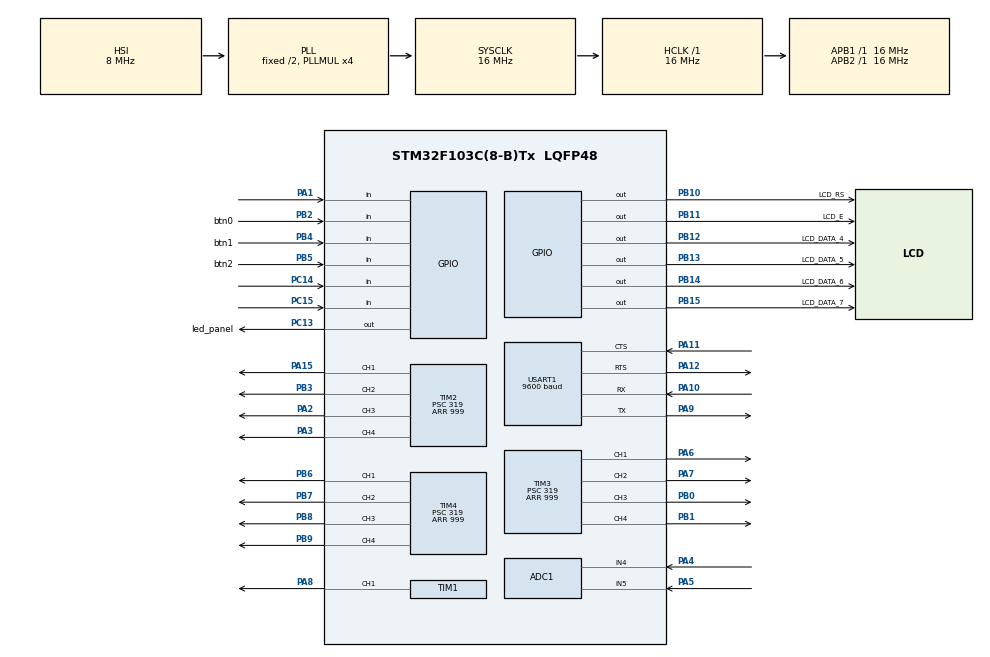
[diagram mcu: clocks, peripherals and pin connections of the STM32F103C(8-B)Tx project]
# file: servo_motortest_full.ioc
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ADC1.Channel-0\#ChannelRegularConversion=ADC_CHANNEL_4
ADC1.Channel-1\#ChannelRegularConversion=ADC_CHANNEL_5
ADC1.Channel-2\#ChannelRegularConversion=ADC_CHANNEL_TEMPSENSOR
ADC1.ContinuousConvMode=ENABLE
ADC1.NbrOfConversion=3
ADC1.NbrOfConversionFlag=1
ADC1.Rank-0\#ChannelRegularConversion=1
ADC1.Rank-1\#ChannelRegularConversion=2
ADC1.Rank-2\#ChannelRegularConversion=3
ADC1.SamplingTime-0\#ChannelRegularConversion=ADC_SAMPLETIME_239CYCLES_5
ADC1.SamplingTime-1\#ChannelRegularConversion=ADC_SAMPLETIME_239CYCLES_5
ADC1.SamplingTime-2\#ChannelRegularConversion=ADC_SAMPLETIME_239CYCLES_5
ADC1.master=1
Dma.ADC1.0.Direction=DMA_PERIPH_TO_MEMORY
Dma.ADC1.0.Instance=DMA1_Channel1
Dma.ADC1.0.MemDataAlignment=DMA_MDATAALIGN_WORD
Dma.ADC1.0.MemInc=DMA_MINC_ENABLE
Dma.ADC1.0.Mode=DMA_CIRCULAR
Dma.ADC1.0.PeriphDataAlignment=DMA_PDATAALIGN_WORD
Dma.ADC1.0.PeriphInc=DMA_PINC_DISABLE
Dma.ADC1.0.Priority=DMA_PRIORITY_LOW
Dma.Request0=ADC1
Mcu.Family=STM32F1
Mcu.Name=STM32F103C(8-B)Tx
Mcu.Package=LQFP48
NVIC.DMA1_Channel1_IRQn=true\:0\:0\:false\:false\:true\:false\:true
NVIC.PriorityGroup=NVIC_PRIORITYGROUP_4
NVIC.TIM2_IRQn=true\:0\:0\:false\:false\:true\:true\:true
NVIC.TIM3_IRQn=true\:0\:0\:false\:false\:true\:true\:true
NVIC.TIM4_IRQn=true\:0\:0\:false\:false\:true\:true\:true
PA1.Signal=GPIO_Input
PA10.Mode=Asynchronous
PA10.Signal=USART1_RX
PA11.Mode=CTS_RTS
PA11.Signal=USART1_CTS
PA12.Mode=CTS_RTS
PA12.Signal=USART1_RTS
PA13.Mode=Serial_Wire
PA13.Signal=SYS_JTMS-SWDIO
PA14.Mode=Serial_Wire
PA14.Signal=SYS_JTCK-SWCLK
PA15.Signal=S_TIM2_CH1_ETR
PA2.Signal=S_TIM2_CH3
PA3.Signal=S_TIM2_CH4
PA4.Signal=ADCx_IN4
PA5.Signal=ADCx_IN5
PA6.Signal=S_TIM3_CH1
PA7.Signal=S_TIM3_CH2
PA8.Signal=S_TIM1_CH1
PA9.Mode=Asynchronous
PA9.Signal=USART1_TX
PB0.Signal=S_TIM3_CH3
PB1.Signal=S_TIM3_CH4
PB10.GPIO_Label=LCD_RS
PB10.Signal=GPIO_Output
PB11.GPIO_Label=LCD_E
PB11.Signal=GPIO_Output
PB12.GPIO_Label=LCD_DATA_4
PB12.Signal=GPIO_Output
PB13.GPIO_Label=LCD_DATA_5
PB13.Signal=GPIO_Output
PB14.GPIO_Label=LCD_DATA_6
PB14.Signal=GPIO_Output
PB15.GPIO_Label=LCD_DATA_7
PB15.Signal=GPIO_Output
PB2.GPIO_Label=btn0
PB2.Signal=GPIO_Input
PB3.Signal=S_TIM2_CH2
PB4.GPIO_Label=btn1
PB4.Signal=GPIO_Input
PB5.GPIO_Label=btn2
PB5.Signal=GPIO_Input
PB6.Signal=S_TIM4_CH1
PB7.Signal=S_TIM4_CH2
PB8.Signal=S_TIM4_CH3
PB9.Signal=S_TIM4_CH4
PC13-TAMPER-RTC.GPIO_Label=led_panel
PC13-TAMPER-RTC.Signal=GPIO_Output
PC14-OSC32_IN.Signal=GPIO_Input
PC15-OSC32_OUT.Signal=GPIO_Input
PD0-OSC_IN.Mode=HSE-External-Oscillator
PD0-OSC_IN.Signal=RCC_OSC_IN
PD1-OSC_OUT.Mode=HSE-External-Oscillator
PD1-OSC_OUT.Signal=RCC_OSC_OUT
ProjectManager.HeapSize=0x200
ProjectManager.StackSize=0x400
ProjectManager.TargetToolchain=STM32CubeIDE
RCC.AHBFreq_Value=16000000
RCC.APB1Freq_Value=16000000
RCC.APB1TimFreq_Value=16000000
RCC.APB2Freq_Value=16000000
RCC.APB2TimFreq_Value=16000000
RCC.HCLKFreq_Value=16000000
RCC.PLLMUL=RCC_PLL_MUL4
RCC.SYSCLKFreq_VALUE=16000000
RCC.SYSCLKSource=RCC_SYSCLKSOURCE_PLLCLK
RCC.USBFreq_Value=16000000
SH.ADCx_IN4.0=ADC1_IN4,IN4
SH.ADCx_IN5.0=ADC1_IN5,IN5
SH.S_TIM1_CH1.0=TIM1_CH1,PWM Generation1 CH1
SH.S_TIM2_CH1_ETR.0=TIM2_CH1,PWM Generation1 CH1
SH.S_TIM2_CH2.0=TIM2_CH2,PWM Generation2 CH2
SH.S_TIM2_CH3.0=TIM2_CH3,PWM Generation3 CH3
SH.S_TIM2_CH4.0=TIM2_CH4,PWM Generation4 CH4
SH.S_TIM3_CH1.0=TIM3_CH1,PWM Generation1 CH1
SH.S_TIM3_CH2.0=TIM3_CH2,PWM Generation2 CH2
SH.S_TIM3_CH3.0=TIM3_CH3,PWM Generation3 CH3
SH.S_TIM3_CH4.0=TIM3_CH4,PWM Generation4 CH4
SH.S_TIM4_CH1.0=TIM4_CH1,PWM Generation1 CH1
SH.S_TIM4_CH2.0=TIM4_CH2,PWM Generation2 CH2
SH.S_TIM4_CH3.0=TIM4_CH3,PWM Generation3 CH3
SH.S_TIM4_CH4.0=TIM4_CH4,PWM Generation4 CH4
TIM1.Channel-PWM\ Generation1\ CH1=TIM_CHANNEL_1
TIM1.Period=999
TIM1.Prescaler=319
TIM2.AutoReloadPreload=TIM_AUTORELOAD_PRELOAD_ENABLE
TIM2.Channel-PWM\ Generation1\ CH1=TIM_CHANNEL_1
TIM2.Channel-PWM\ Generation2\ CH2=TIM_CHANNEL_2
TIM2.Channel-PWM\ Generation3\ CH3=TIM_CHANNEL_3
TIM2.Channel-PWM\ Generation4\ CH4=TIM_CHANNEL_4
TIM2.Period=999
TIM2.Prescaler=319
TIM3.AutoReloadPreload=TIM_AUTORELOAD_PRELOAD_ENABLE
TIM3.Channel-PWM\ Generation1\ CH1=TIM_CHANNEL_1
TIM3.Channel-PWM\ Generation2\ CH2=TIM_CHANNEL_2
TIM3.Channel-PWM\ Generation3\ CH3=TIM_CHANNEL_3
TIM3.Channel-PWM\ Generation4\ CH4=TIM_CHANNEL_4
TIM3.Period=999
TIM3.Prescaler=319
TIM4.AutoReloadPreload=TIM_AUTORELOAD_PRELOAD_ENABLE
TIM4.Channel-PWM\ Generation1\ CH1=TIM_CHANNEL_1
TIM4.Channel-PWM\ Generation2\ CH2=TIM_CHANNEL_2
TIM4.Channel-PWM\ Generation3\ CH3=TIM_CHANNEL_3
TIM4.Channel-PWM\ Generation4\ CH4=TIM_CHANNEL_4
TIM4.Period=999
TIM4.Prescaler=319
USART1.BaudRate=9600
USART1.VirtualMode=VM_ASYNC
VP_ADC1_TempSens_Input.Mode=IN-TempSens
VP_TIM1_VS_ClockSourceINT.Mode=Internal
VP_TIM2_VS_ClockSourceINT.Mode=Internal
VP_TIM3_VS_ClockSourceINT.Mode=Internal
VP_TIM4_VS_ClockSourceINT.Mode=Internal
board=custom

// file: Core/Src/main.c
/* USER CODE BEGIN Header */
/**
  ******************************************************************************
  * @file           : main.c
  * @brief          : Main program body
  ******************************************************************************
  * @attention
  *
  * <h2><center>&copy; Copyright (c) 2021 STMicroelectronics.
  * All rights reserved.</center></h2>
  *
  * This software component is licensed by ST under BSD 3-Clause license,
  * the "License"; You may not use this file except in compliance with the
  * License. You may obtain a copy of the License at:
  *                        opensource.org/licenses/BSD-3-Clause
  *
  ******************************************************************************
  */
/* USER CODE END Header */
#include "main.h"
#include "adc.h"
#include "dma.h"
#include "tim.h"
#include "usart.h"
#include "gpio.h"

/* USER CODE BEGIN Includes */
#include "lcd.h"
#include "functions.h"
/* USER CODE END Includes */

/* USER CODE BEGIN PV */
v8 i = 50;
v8 k = 100;
u32 DATA_dmaadc[3] = {0.0, 0.0, 0.0};
/* USER CODE END PV */

void SystemClock_Config(void);

int main(void)
{

  /* MCU Configuration--------------------------------------------------------*/

  /* Reset of all peripherals, Initializes the Flash interface and the Systick. */
  HAL_Init();

  /* Configure the system clock */
  SystemClock_Config();

  /* Initialize all configured peripherals */
  MX_GPIO_Init();
  MX_DMA_Init();
  MX_TIM1_Init();
  MX_TIM2_Init();
  MX_TIM3_Init();
  MX_TIM4_Init();
  MX_ADC1_Init();
  MX_USART1_UART_Init();
  /* USER CODE BEGIN 2 */
  HAL_TIM_PWM_Start(&htim1, TIM_CHANNEL_1);
 /* HAL_TIM_PWM_Start(&htim1, TIM_CHANNEL_2);
  HAL_TIM_PWM_Start(&htim1, TIM_CHANNEL_3);
  HAL_TIM_PWM_Start(&htim1, TIM_CHANNEL_4);
*/
  HAL_TIM_PWM_Start(&htim2, TIM_CHANNEL_1);
  HAL_TIM_PWM_Start(&htim2, TIM_CHANNEL_2);
  HAL_TIM_PWM_Start(&htim2, TIM_CHANNEL_3);
  HAL_TIM_PWM_Start(&htim2, TIM_CHANNEL_4);
  HAL_TIM_Base_Start_IT(&htim2);

  HAL_TIM_PWM_Start(&htim3, TIM_CHANNEL_1);
  HAL_TIM_PWM_Start(&htim3, TIM_CHANNEL_2);
  HAL_TIM_PWM_Start(&htim3, TIM_CHANNEL_3);
  HAL_TIM_PWM_Start(&htim3, TIM_CHANNEL_4);
  HAL_TIM_Base_Start_IT(&htim3);

  HAL_TIM_PWM_Start(&htim4, TIM_CHANNEL_1);
  HAL_TIM_PWM_Start(&htim4, TIM_CHANNEL_2);
  HAL_TIM_PWM_Start(&htim4, TIM_CHANNEL_3);
  HAL_TIM_PWM_Start(&htim4, TIM_CHANNEL_4);
  HAL_TIM_Base_Start_IT(&htim4);

  HAL_ADC_Start_DMA(&hadc1, DATA_dmaadc, 3);

  /* USER CODE END 2 */

  /* Infinite loop */
  while (1)
  {

    /* USER CODE BEGIN 3 */
	  for(u8 i = 25; i <= 125; i += 25){
		  htim1.Instance -> CCR1 = i;
		  HAL_Delay(500);
		  htim1.Instance -> CCR2 = i;
		  HAL_Delay(500);
		  htim1.Instance -> CCR3 = i;
		  HAL_Delay(500);
		  htim1.Instance -> CCR4 = i;
		  HAL_Delay(500);
		  htim2.Instance -> CCR1 = i;
		  HAL_Delay(500);
		  htim2.Instance -> CCR2 = i;
		  HAL_Delay(500);
		  htim2.Instance -> CCR3 = i;
		  HAL_Delay(500);
		  htim2.Instance -> CCR4 = i;
		  HAL_Delay(500);
		  htim3.Instance -> CCR1 = i;
		  HAL_Delay(500);
		  htim3.Instance -> CCR2 = i;
		  HAL_Delay(500);
		  htim3.Instance -> CCR3 = i;
		  HAL_Delay(500);
		  htim3.Instance -> CCR4 = i;
		  HAL_Delay(500);
		  htim4.Instance -> CCR1 = i;
		  HAL_Delay(500);
		  htim4.Instance -> CCR2 = i;
		  HAL_Delay(500);
	  }

	  HAL_GPIO_TogglePin(led_panel_GPIO_Port, led_panel_Pin);
	  HAL_Delay(200);
  }
  /* USER CODE END 3 */
}

void SystemClock_Config(void)
{
  RCC_OscInitTypeDef RCC_OscInitStruct = {0};
  RCC_ClkInitTypeDef RCC_ClkInitStruct = {0};
  RCC_PeriphCLKInitTypeDef PeriphClkInit = {0};

  /** Initializes the RCC Oscillators according to the specified parameters
  * in the RCC_OscInitTypeDef structure.
  */
  RCC_OscInitStruct.OscillatorType = RCC_OSCILLATORTYPE_HSI;
  RCC_OscInitStruct.HSIState = RCC_HSI_ON;
  RCC_OscInitStruct.HSICalibrationValue = RCC_HSICALIBRATION_DEFAULT;
  RCC_OscInitStruct.PLL.PLLState = RCC_PLL_ON;
  RCC_OscInitStruct.PLL.PLLSource = RCC_PLLSOURCE_HSI_DIV2;
  RCC_OscInitStruct.PLL.PLLMUL = RCC_PLL_MUL4;
  if (HAL_RCC_OscConfig(&RCC_OscInitStruct) != HAL_OK)
  {
    Error_Handler();
  }
  /** Initializes the CPU, AHB and APB buses clocks
  */
  RCC_ClkInitStruct.ClockType = RCC_CLOCKTYPE_HCLK|RCC_CLOCKTYPE_SYSCLK
                              |RCC_CLOCKTYPE_PCLK1|RCC_CLOCKTYPE_PCLK2;
  RCC_ClkInitStruct.SYSCLKSource = RCC_SYSCLKSOURCE_PLLCLK;
  RCC_ClkInitStruct.AHBCLKDivider = RCC_SYSCLK_DIV1;
  RCC_ClkInitStruct.APB1CLKDivider = RCC_HCLK_DIV1;
  RCC_ClkInitStruct.APB2CLKDivider = RCC_HCLK_DIV1;

  if (HAL_RCC_ClockConfig(&RCC_ClkInitStruct, FLASH_LATENCY_0) != HAL_OK)
  {
    Error_Handler();
  }
  PeriphClkInit.PeriphClockSelection = RCC_PERIPHCLK_ADC;
  PeriphClkInit.AdcClockSelection = RCC_ADCPCLK2_DIV2;
  if (HAL_RCCEx_PeriphCLKConfig(&PeriphClkInit) != HAL_OK)
  {
    Error_Handler();
  }
}

/* USER CODE BEGIN 4 */
void HAL_TIM_PeriodElapsedCallback(TIM_HandleTypeDef *htim){
	if(htim -> Instance == TIM2){
		if(i == 0){
			HAL_GPIO_TogglePin(led_panel_GPIO_Port, led_panel_Pin);
			i = 50;
		}else{
			i--;
		}
	}else if(htim -> Instance == TIM3){
		if(k == 0){
			HAL_GPIO_TogglePin(buzzer_GPIO_Port, buzzer_Pin);
			k = 100;
		}else{
			k--;
		}
	}
}
/* USER CODE END 4 */

void Error_Handler(void)
{
  __disable_irq();
  while (1)
  {
  }
}

/************************ (C) COPYRIGHT STMicroelectronics *****END OF FILE****/
